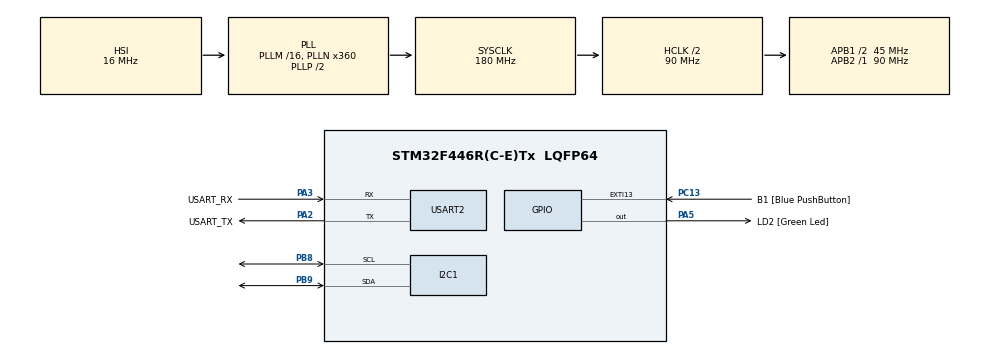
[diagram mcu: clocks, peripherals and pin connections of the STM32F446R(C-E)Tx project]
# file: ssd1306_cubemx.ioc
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Mcu.Family=STM32F4
Mcu.Name=STM32F446R(C-E)Tx
Mcu.Package=LQFP64
NVIC.PriorityGroup=NVIC_PRIORITYGROUP_0
NVIC.USART2_IRQn=true\:0\:0\:false\:false\:true\:true
PA13.GPIO_Label=TMS
PA13.Mode=Trace_Asynchronous_SW
PA13.Signal=SYS_JTMS-SWDIO
PA14.GPIO_Label=TCK
PA14.Mode=Trace_Asynchronous_SW
PA14.Signal=SYS_JTCK-SWCLK
PA2.GPIO_Label=USART_TX
PA2.Mode=Asynchronous
PA2.Signal=USART2_TX
PA3.GPIO_Label=USART_RX
PA3.Mode=Asynchronous
PA3.Signal=USART2_RX
PA5.GPIO_Label=LD2 [Green Led]
PA5.Signal=GPIO_Output
PB3.GPIO_Label=SWO
PB3.Mode=Trace_Asynchronous_SW
PB3.Signal=SYS_JTDO-SWO
PB8.Mode=I2C
PB8.Signal=I2C1_SCL
PB9.Mode=I2C
PB9.Signal=I2C1_SDA
PC13.GPIO_Label=B1 [Blue PushButton]
PC13.GPIO_ModeDefaultEXTI=GPIO_MODE_EVT_RISING
PC13.Signal=GPXTI13
PC14-OSC32_IN.Mode=LSE-External-Oscillator
PC14-OSC32_IN.Signal=RCC_OSC32_IN
PC15-OSC32_OUT.Signal=RCC_OSC32_OUT
PH0-OSC_IN.GPIO_Label=PH0-OSC_IN
PH0-OSC_IN.Signal=RCC_OSC_IN
PH1-OSC_OUT.GPIO_Label=PH1-OSC_OUT
PH1-OSC_OUT.Signal=RCC_OSC_OUT
ProjectManager.HeapSize=0x400
ProjectManager.StackSize=0x200
ProjectManager.TargetToolchain=SW4STM32
RCC.48MHZClocksFreq_Value=84000000
RCC.AHBCLKDivider=RCC_SYSCLK_DIV2
RCC.AHBFreq_Value=90000000
RCC.APB1CLKDivider=RCC_HCLK_DIV2
RCC.APB1Freq_Value=45000000
RCC.APB1TimFreq_Value=90000000
RCC.APB2Freq_Value=90000000
RCC.APB2TimFreq_Value=90000000
RCC.CortexFreq_Value=90000000
RCC.FLatency-AdvancedSettings=FLASH_LATENCY_2
RCC.HCLKFreq_Value=90000000
RCC.HSE_VALUE=8000000
RCC.HSI_VALUE=16000000
RCC.PLLN=360
RCC.SYSCLKFreq_VALUE=180000000
RCC.SYSCLKSource=RCC_SYSCLKSOURCE_PLLCLK
RCC.USBFreq_Value=180000000
RCC.VCOOutputFreq_Value=360000000
USART2.VirtualMode=VM_ASYNC
board=NUCLEO-F446RE

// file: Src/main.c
/**
  ******************************************************************************
  * @file           : main.c
  * @brief          : Main program body
  ******************************************************************************
  ** This notice applies to any and all portions of this file
  * that are not between comment pairs USER CODE BEGIN and
  * USER CODE END. Other portions of this file, whether
  * inserted by the user or by software development tools
  * are owned by their respective copyright owners.
  *
  * COPYRIGHT(c) 2018 STMicroelectronics
  *
  * Redistribution and use in source and binary forms, with or without modification,
  * are permitted provided that the following conditions are met:
  *   1. Redistributions of source code must retain the above copyright notice,
  *      this list of conditions and the following disclaimer.
  *   2. Redistributions in binary form must reproduce the above copyright notice,
  *      this list of conditions and the following disclaimer in the documentation
  *      and/or other materials provided with the distribution.
  *   3. Neither the name of STMicroelectronics nor the names of its contributors
  *      may be used to endorse or promote products derived from this software
  *      without specific prior written permission.
  *
  * THIS SOFTWARE IS PROVIDED BY THE COPYRIGHT HOLDERS AND CONTRIBUTORS "AS IS"
  * AND ANY EXPRESS OR IMPLIED WARRANTIES, INCLUDING, BUT NOT LIMITED TO, THE
  * IMPLIED WARRANTIES OF MERCHANTABILITY AND FITNESS FOR A PARTICULAR PURPOSE ARE
  * DISCLAIMED. IN NO EVENT SHALL THE COPYRIGHT HOLDER OR CONTRIBUTORS BE LIABLE
  * FOR ANY DIRECT, INDIRECT, INCIDENTAL, SPECIAL, EXEMPLARY, OR CONSEQUENTIAL
  * DAMAGES (INCLUDING, BUT NOT LIMITED TO, PROCUREMENT OF SUBSTITUTE GOODS OR
  * SERVICES; LOSS OF USE, DATA, OR PROFITS; OR BUSINESS INTERRUPTION) HOWEVER
  * CAUSED AND ON ANY THEORY OF LIABILITY, WHETHER IN CONTRACT, STRICT LIABILITY,
  * OR TORT (INCLUDING NEGLIGENCE OR OTHERWISE) ARISING IN ANY WAY OUT OF THE USE
  * OF THIS SOFTWARE, EVEN IF ADVISED OF THE POSSIBILITY OF SUCH DAMAGE.
  *
  ******************************************************************************
  */
#include "main.h"
#include "stm32f4xx_hal.h"

/* USER CODE BEGIN Includes */
#include "u8g_stm32.h"
/* USER CODE END Includes */

I2C_HandleTypeDef hi2c1;

UART_HandleTypeDef huart2;

/* USER CODE BEGIN PV */
/* Private variables ---------------------------------------------------------*/
static u8g_t u8g;
/* USER CODE END PV */

void SystemClock_Config(void);
static void MX_GPIO_Init(void);
static void MX_USART2_UART_Init(void);
static void MX_I2C1_Init(void);

/* USER CODE BEGIN PFP */
/* Private function prototypes -----------------------------------------------*/
#ifdef __GNUC__
  /* With GCC/RAISONANCE, small printf (option LD Linker->Libraries->Small printf
     set to 'Yes') calls __io_putchar() */
  #define PUTCHAR_PROTOTYPE int __io_putchar(int ch)
  #define GETCHAR_PROTOTYPE int __io_getchar(void)
#else
  #define PUTCHAR_PROTOTYPE int fputc(int ch, FILE *f)
  #define GETCHAR_PROTOTYPE int fgetc(FILE *f)
#endif /* __GNUC__ */

/* USER CODE END PFP */

/* USER CODE BEGIN 0 */
/*
Function which responds for drawing
*/
void draw(void)
{
  u8g_SetFont(&u8g,u8g_font_profont10);//set current font
  u8g_DrawStr(&u8g, 2, 12, "Hello!");//write string - you set coordinates and string
  u8g_DrawBox(&u8g, 30, 30, 35, 35);//draw some box
}
/* USER CODE END 0 */

int main(void)
{

  /* MCU Configuration----------------------------------------------------------*/

  /* Reset of all peripherals, Initializes the Flash interface and the Systick. */
  HAL_Init();

  /* Configure the system clock */
  SystemClock_Config();

  /* Initialize all configured peripherals */
  MX_GPIO_Init();
  MX_USART2_UART_Init();
  MX_I2C1_Init();
  /* USER CODE BEGIN 2 */
  printf("Hello stm32\r\n");
  u8g_InitComFn(&u8g, &u8g_dev_ssd1306_128x64_i2c, u8g_com_hw_i2c_fn); //here we init our u8glib driver
  /* USER CODE END 2 */

  /* Infinite loop */
  while (1)
  {

  /* USER CODE BEGIN 3 */
	  u8g_FirstPage(&u8g);
	  do
	  {
		  draw();
	  } while ( u8g_NextPage(&u8g) );
	  u8g_Delay(10);
	  /* Insert a 100ms delay */
	  HAL_Delay(100);
  }
  /* USER CODE END 3 */

}

void SystemClock_Config(void)
{

  RCC_OscInitTypeDef RCC_OscInitStruct;
  RCC_ClkInitTypeDef RCC_ClkInitStruct;

    /**Configure the main internal regulator output voltage
    */
  __HAL_RCC_PWR_CLK_ENABLE();

  __HAL_PWR_VOLTAGESCALING_CONFIG(PWR_REGULATOR_VOLTAGE_SCALE3);

    /**Initializes the CPU, AHB and APB busses clocks
    */
  RCC_OscInitStruct.OscillatorType = RCC_OSCILLATORTYPE_HSI;
  RCC_OscInitStruct.HSIState = RCC_HSI_ON;
  RCC_OscInitStruct.HSICalibrationValue = 16;
  RCC_OscInitStruct.PLL.PLLState = RCC_PLL_ON;
  RCC_OscInitStruct.PLL.PLLSource = RCC_PLLSOURCE_HSI;
  RCC_OscInitStruct.PLL.PLLM = 16;
  RCC_OscInitStruct.PLL.PLLN = 360;
  RCC_OscInitStruct.PLL.PLLP = RCC_PLLP_DIV2;
  RCC_OscInitStruct.PLL.PLLQ = 2;
  RCC_OscInitStruct.PLL.PLLR = 2;
  if (HAL_RCC_OscConfig(&RCC_OscInitStruct) != HAL_OK)
  {
    _Error_Handler(__FILE__, __LINE__);
  }

    /**Initializes the CPU, AHB and APB busses clocks
    */
  RCC_ClkInitStruct.ClockType = RCC_CLOCKTYPE_HCLK|RCC_CLOCKTYPE_SYSCLK
                              |RCC_CLOCKTYPE_PCLK1|RCC_CLOCKTYPE_PCLK2;
  RCC_ClkInitStruct.SYSCLKSource = RCC_SYSCLKSOURCE_PLLCLK;
  RCC_ClkInitStruct.AHBCLKDivider = RCC_SYSCLK_DIV2;
  RCC_ClkInitStruct.APB1CLKDivider = RCC_HCLK_DIV2;
  RCC_ClkInitStruct.APB2CLKDivider = RCC_HCLK_DIV1;

  if (HAL_RCC_ClockConfig(&RCC_ClkInitStruct, FLASH_LATENCY_2) != HAL_OK)
  {
    _Error_Handler(__FILE__, __LINE__);
  }

    /**Configure the Systick interrupt time
    */
  HAL_SYSTICK_Config(HAL_RCC_GetHCLKFreq()/1000);

    /**Configure the Systick
    */
  HAL_SYSTICK_CLKSourceConfig(SYSTICK_CLKSOURCE_HCLK);

  /* SysTick_IRQn interrupt configuration */
  HAL_NVIC_SetPriority(SysTick_IRQn, 0, 0);
}

/* I2C1 init function */
static void MX_I2C1_Init(void)
{

  hi2c1.Instance = I2C1;
  hi2c1.Init.ClockSpeed = 100000;
  hi2c1.Init.DutyCycle = I2C_DUTYCYCLE_2;
  hi2c1.Init.OwnAddress1 = 0;
  hi2c1.Init.AddressingMode = I2C_ADDRESSINGMODE_7BIT;
  hi2c1.Init.DualAddressMode = I2C_DUALADDRESS_DISABLE;
  hi2c1.Init.OwnAddress2 = 0;
  hi2c1.Init.GeneralCallMode = I2C_GENERALCALL_DISABLE;
  hi2c1.Init.NoStretchMode = I2C_NOSTRETCH_DISABLE;
  if (HAL_I2C_Init(&hi2c1) != HAL_OK)
  {
    _Error_Handler(__FILE__, __LINE__);
  }

}

/* USART2 init function */
static void MX_USART2_UART_Init(void)
{

  huart2.Instance = USART2;
  huart2.Init.BaudRate = 115200;
  huart2.Init.WordLength = UART_WORDLENGTH_8B;
  huart2.Init.StopBits = UART_STOPBITS_1;
  huart2.Init.Parity = UART_PARITY_NONE;
  huart2.Init.Mode = UART_MODE_TX_RX;
  huart2.Init.HwFlowCtl = UART_HWCONTROL_NONE;
  huart2.Init.OverSampling = UART_OVERSAMPLING_16;
  if (HAL_UART_Init(&huart2) != HAL_OK)
  {
    _Error_Handler(__FILE__, __LINE__);
  }

}

/** Configure pins as
        * Analog
        * Input
        * Output
        * EVENT_OUT
        * EXTI
*/
static void MX_GPIO_Init(void)
{

  GPIO_InitTypeDef GPIO_InitStruct;

  /* GPIO Ports Clock Enable */
  __HAL_RCC_GPIOC_CLK_ENABLE();
  __HAL_RCC_GPIOH_CLK_ENABLE();
  __HAL_RCC_GPIOA_CLK_ENABLE();
  __HAL_RCC_GPIOB_CLK_ENABLE();

  /*Configure GPIO pin Output Level */
  HAL_GPIO_WritePin(LD2_GPIO_Port, LD2_Pin, GPIO_PIN_RESET);

  /*Configure GPIO pin : B1_Pin */
  GPIO_InitStruct.Pin = B1_Pin;
  GPIO_InitStruct.Mode = GPIO_MODE_EVT_RISING;
  GPIO_InitStruct.Pull = GPIO_NOPULL;
  HAL_GPIO_Init(B1_GPIO_Port, &GPIO_InitStruct);

  /*Configure GPIO pin : LD2_Pin */
  GPIO_InitStruct.Pin = LD2_Pin;
  GPIO_InitStruct.Mode = GPIO_MODE_OUTPUT_PP;
  GPIO_InitStruct.Pull = GPIO_NOPULL;
  GPIO_InitStruct.Speed = GPIO_SPEED_FREQ_LOW;
  HAL_GPIO_Init(LD2_GPIO_Port, &GPIO_InitStruct);

}

void _Error_Handler(char *file, int line)
{
  while(1)
  {
  }
}

/************************ (C) COPYRIGHT STMicroelectronics *****END OF FILE****/
